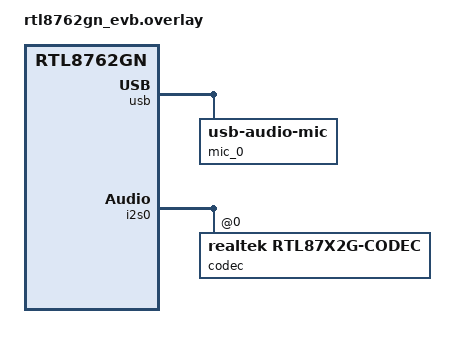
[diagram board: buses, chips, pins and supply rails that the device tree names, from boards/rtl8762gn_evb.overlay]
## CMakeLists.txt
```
# SPDX-License-Identifier: Apache-2.0

cmake_minimum_required(VERSION 3.20.0)
find_package(Zephyr REQUIRED HINTS $ENV{ZEPHYR_BASE})
project(uac_mic)

FILE(GLOB app_sources src/*.c)
target_sources(app PRIVATE ${app_sources})
```

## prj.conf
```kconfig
CONFIG_STDOUT_CONSOLE=y

#USB related configs
CONFIG_USB_DEVICE_STACK=y
CONFIG_USB_DEVICE_PRODUCT="Zephyr USB audio mic sample"
CONFIG_USB_DEVICE_INITIALIZE_AT_BOOT=n

#LOG subsystem related configs
CONFIG_LOG=y
CONFIG_USB_DRIVER_LOG_LEVEL_ERR=y
CONFIG_USB_DEVICE_LOG_LEVEL_ERR=y

#net buf options
CONFIG_NET_BUF=y

#USB audio related configs
CONFIG_USB_DEVICE_AUDIO=y
CONFIG_USB_DEVICE_AUDIO_SAMPLE_RATE=48000

#I2S and codec configs (for MIC capture)
CONFIG_AUDIO=y
CONFIG_AUDIO_CODEC=y
CONFIG_I2S_RTL87X2G_RX=y
CONFIG_HEAP_MEM_POOL_SIZE=1024
```

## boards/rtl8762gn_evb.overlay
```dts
zephyr_udc0: &usb {
	status = "okay";
};

&zephyr_udc0 {
	mic_0 {
		compatible = "usb-audio-mic";
		feature-mute;
		channel-l;
		channel-r;
	};
};

/ {
	aliases {
		test-i2s = &i2s0;
		test-codec = &codec;
	};
};

/* i2s codec rx */
&i2s0 {
	dmas = <&dma0 0 41 0x26a1>, <&dma0 1 42 0x648a>;
	dma-names = "tx", "rx";
	pinctrl-0 = <&i2s0_default>;
	pinctrl-names = "default";

	status = "okay";
	codec: codec@0 {
		compatible = "realtek,rtl87x2g-codec";
		reg = <0>;
		channel-sequence = "l_r";
		mic-bias = "1_8";
		mic-bst-gain = "30dB";
		mic-bst-mode = "differential";
		mic-type = "amic";
		dmic-data-latch = "rising_latch";
		ad-gain = <0x2f>;
		boost-gain = "0dB";
		pinctrl-0 = <&codec_default>;
		pinctrl-names = "default";
		status = "okay";
	};
};

&dma0 {
    status = "okay";
};

&pinctrl {
	i2s0_default: i2s0_default {
        group1 {
		psels =
			<RTL87X2G_PSEL(BCLK_SPORT0, P4_0, DIR_OUT, DRV_LOW, PULL_NONE)>,
			<RTL87X2G_PSEL(LRC_RX_SPORT0, P4_1, DIR_OUT, DRV_LOW, PULL_NONE)>,
			<RTL87X2G_PSEL(SDI_CODEC_SLAVE, P4_2, DIR_OUT, DRV_LOW, PULL_NONE)>,
			<RTL87X2G_PSEL(SDO_CODEC_SLAVE, P4_3, DIR_OUT, DRV_LOW, PULL_NONE)>;
	};
};

codec_default: codec_default {
	group1 {
		psels = <RTL87X2G_PSEL(PWR_OFF, P2_6, DIR_IN, DRV_HIGH, PULL_NONE)>,
			<RTL87X2G_PSEL(PWR_OFF, P2_7, DIR_IN, DRV_HIGH, PULL_NONE)>,
			<RTL87X2G_PSEL(PDM_CLK, P2_4, DIR_OUT, DRV_LOW, PULL_NONE)>,
			<RTL87X2G_PSEL(PDM_DATA, P2_5, DIR_OUT, DRV_LOW, PULL_NONE)>;
	};
};
};
```

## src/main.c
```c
/*
 * Copyright(c) 2026, Realtek Semiconductor Corporation
 * SPDX-License-Identifier: Apache-2.0
 */

#include <zephyr/kernel.h>
#include <zephyr/logging/log.h>
#include <zephyr/usb/usb_device.h>
#include <zephyr/usb/class/usb_audio.h>
#include <zephyr/drivers/i2s.h>
#include <zephyr/audio/codec.h>

LOG_MODULE_REGISTER(main, LOG_LEVEL_INF);

/* I2S and codec device tree aliases — set in board overlay:
 *   /aliases { test_i2s = &your_i2s; test_codec = &your_codec; };
 */
static const struct device *dev_i2s = DEVICE_DT_GET_OR_NULL(DT_ALIAS(test_i2s));
static const struct device *dev_codec = DEVICE_DT_GET_OR_NULL(DT_ALIAS(test_codec));

/* ------------------------------------------------------------------
 * MIC (I2S → USB) data path
 * ------------------------------------------------------------------
 * USB sends are driven by data_written_cb (transfer completion).
 * The I2S reader thread fills a shared buffer asynchronously.
 *
 * flow:
 *   data_request_cb  → send first frame (I2S data or silence)
 *   data_written_cb  → send next frame  (I2S data or silence) → chain
 *   I2S reader thread → i2s_read loop, fills i2s_buffer only
 */

#define MIC_BLOCK_SIZE	  192
#define NUM_MIC_BLOCKS	  16

/* Memory slab for I2S RX DMA buffers */
K_MEM_SLAB_DEFINE(i2s_rx_slab, MIC_BLOCK_SIZE, NUM_MIC_BLOCKS, 4);

/* Buffer pool for USB MIC transfers */
NET_BUF_POOL_FIXED_DEFINE(mic_pool, NUM_MIC_BLOCKS, MIC_BLOCK_SIZE,
			  4, net_buf_destroy);

/* Shared buffer between I2S reader thread and USB send chain */
static uint8_t i2s_buffer[MIC_BLOCK_SIZE];
static volatile bool buf_has_i2s_data;
static volatile bool tx_active;

static K_SEM_DEFINE(mic_trigger_sem, 0, 1);

static const struct device *mic_dev;

static int i2s_codec_start(void)
{
	struct audio_codec_cfg codec_cfg = { 0 };
	audio_property_value_t val = { .mute = false };

	codec_cfg.mclk_freq = 2500000;
	codec_cfg.dai_type = AUDIO_DAI_TYPE_I2S;
	codec_cfg.dai_cfg.i2s.frame_clk_freq = 48000;
	codec_cfg.dai_cfg.i2s.word_size = 16;
	codec_cfg.dai_cfg.i2s.channels = 2;
	codec_cfg.dai_cfg.i2s.format =
		I2S_FMT_DATA_FORMAT_I2S | I2S_FMT_DATA_ORDER_MSB;
	codec_cfg.dai_cfg.i2s.options =
		I2S_OPT_BIT_CLK_CONT | I2S_OPT_BIT_CLK_MASTER |
		I2S_OPT_FRAME_CLK_MASTER | I2S_OPT_PINGPONG;
	codec_cfg.dai_cfg.i2s.block_size = MIC_BLOCK_SIZE;
	codec_cfg.dai_cfg.i2s.mem_slab = &i2s_rx_slab;
	codec_cfg.dai_cfg.i2s.timeout = SYS_FOREVER_MS;

	if (audio_codec_configure(dev_codec, &codec_cfg)) {
		LOG_ERR("codec configure failed");
		return -EIO;
	}
	audio_codec_set_property(dev_codec, AUDIO_PROPERTY_OUTPUT_MUTE,
				 AUDIO_CHANNEL_ALL, val);
	audio_codec_apply_properties(dev_codec);
	audio_codec_start_output(dev_codec);

	if (i2s_configure(dev_i2s, I2S_DIR_RX, &codec_cfg.dai_cfg.i2s)) {
		LOG_ERR("i2s configure failed");
		audio_codec_stop_output(dev_codec);
		return -EIO;
	}

	if (i2s_trigger(dev_i2s, I2S_DIR_RX, I2S_TRIGGER_START)) {
		LOG_ERR("i2s trigger start failed");
		i2s_configure(dev_i2s, I2S_DIR_RX,
			      &(struct i2s_config){ .frame_clk_freq = 0 });
		audio_codec_stop_output(dev_codec);
		return -EIO;
	}

	LOG_INF("I2S + codec started");
	return 0;
}

static void i2s_codec_stop(void)
{
	i2s_trigger(dev_i2s, I2S_DIR_RX, I2S_TRIGGER_DROP);
	i2s_configure(dev_i2s, I2S_DIR_RX,
		      &(struct i2s_config){ .frame_clk_freq = 0 });
	audio_codec_stop_output(dev_codec);
	LOG_INF("I2S + codec stopped");
}

/* ------------------------------------------------------------------
 * USB send chain: data_written_cb drives the next send.
 * Called from workqueue context after each XFER_COMPL.
 * ------------------------------------------------------------------ */

static void send_next_frame(const struct device *dev)
{
	struct net_buf *tx_buf = net_buf_alloc(&mic_pool, K_NO_WAIT);
	if (tx_buf == NULL) {
		LOG_ERR("mic buffer pool exhausted");
		return;
	}

	if (buf_has_i2s_data) {
		buf_has_i2s_data = false;
		memcpy(net_buf_add(tx_buf, MIC_BLOCK_SIZE),
		       i2s_buffer, MIC_BLOCK_SIZE);
	} else {
		/* No I2S data yet — send silence */
		memset(net_buf_add(tx_buf, MIC_BLOCK_SIZE), 0,
		       MIC_BLOCK_SIZE);
	}

	int ret = usb_audio_send(dev, tx_buf, MIC_BLOCK_SIZE);
	if (ret == -EAGAIN) {
		tx_active = false;
		net_buf_unref(tx_buf);
	} else if (ret) {
		net_buf_unref(tx_buf);
	}
}

static void data_written_cb(const struct device *dev,
			    struct net_buf *buffer, size_t size)
{
	/* Free the buffer from the completed transfer */
	net_buf_unref(buffer);

	/* Chain the next frame */
	if (tx_active) {
		send_next_frame(dev);
	}
}

/* ------------------------------------------------------------------
 * I2S reader thread: fills i2s_buffer, never calls usb_audio_send
 * ------------------------------------------------------------------ */

static void mic_reader_thread(void *arg1, void *arg2, void *arg3)
{
	while (1) {
		k_sem_take(&mic_trigger_sem, K_FOREVER);

		if (i2s_codec_start()) {
			continue;
		}

		while (tx_active) {
			void *block;
			size_t size;
			int ret;

			ret = i2s_read(dev_i2s, &block, &size);
			if (ret) {
				LOG_ERR("i2s_read failed: %d", ret);
				break;
			}

			memcpy(i2s_buffer, block, size);
			buf_has_i2s_data = true;

			const struct i2s_config *cfg =
				i2s_config_get(dev_i2s, I2S_DIR_RX);
			if (cfg != NULL && cfg->mem_slab != NULL) {
				k_mem_slab_free(cfg->mem_slab, block);
			}
		}

		i2s_codec_stop();
	}
}

K_THREAD_DEFINE(mic_tid, 2048, mic_reader_thread, NULL, NULL, NULL,
		K_PRIO_PREEMPT(5), 0, 0);

/* ------------------------------------------------------------------
 * UAC callbacks
 * ------------------------------------------------------------------ */

static void data_request_cb(const struct device *dev)
{
	/* Called when UAC MIC streaming starts (host selected alt=1).
	 * On RTL87X2G this is triggered from USB_DC_INTERFACE.
	 * Start I2S and prime the first USB frame. */
	mic_dev = dev;

	if (dev_i2s == NULL || dev_codec == NULL) {
		LOG_WRN("MIC capture unavailable — no I2S/codec device");
		return;
	}

	tx_active = true;
	buf_has_i2s_data = false;

	/* Wake I2S reader thread */
	k_sem_give(&mic_trigger_sem);

	/* Prime the first USB frame immediately (silence if no I2S data) */
	send_next_frame(dev);
}

static void feature_update(const struct device *dev,
			   const struct usb_audio_fu_evt *evt)
{
	switch (evt->cs) {
	case USB_AUDIO_FU_MUTE_CONTROL:
		LOG_INF("mute %s", *((const uint8_t *)evt->val) ? "on" : "off");
		break;
	case USB_AUDIO_FU_VOLUME_CONTROL:
		LOG_INF("set volume: %d", *((const int16_t *)evt->val));
		break;
	default:
		break;
	}
}

static const struct usb_audio_ops ops = {
	.data_request_cb   = data_request_cb,
	.data_written_cb   = data_written_cb,
	.feature_update_cb = feature_update,
};

/* ------------------------------------------------------------------
 * main
 * ------------------------------------------------------------------ */

int main(void)
{
	int ret;

	LOG_INF("Entered %s", __func__);

	mic_dev = DEVICE_DT_GET_ONE(usb_audio_mic);

	if (!device_is_ready(mic_dev)) {
		LOG_ERR("Device USB Microphone is not ready");
		return 0;
	}

	if (dev_i2s != NULL && device_is_ready(dev_i2s)) {
		LOG_INF("I2S device ready: %s", dev_i2s->name);
	} else {
		LOG_WRN("I2S device not available — MIC capture disabled");
	}

	if (dev_codec != NULL && device_is_ready(dev_codec)) {
		LOG_INF("Codec device ready: %s", dev_codec->name);
	} else {
		LOG_WRN("Codec device not available — MIC capture disabled");
	}

	LOG_INF("Found USB Microphone Device");

	usb_audio_register(mic_dev, &ops);

	ret = usb_enable(NULL);
	if (ret != 0) {
		LOG_ERR("Failed to enable USB");
		return 0;
	}

	LOG_INF("USB enabled");
	return 0;
}
```
